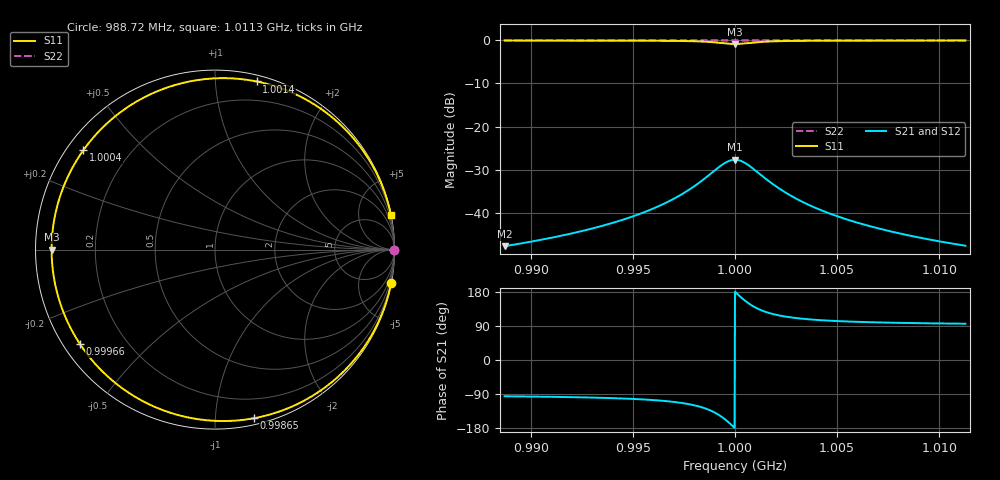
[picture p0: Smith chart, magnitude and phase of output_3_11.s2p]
! File generated for n1 = 3, n2 = 11
! b1 = 21.544347
! b2 = 0.010000
! Q0 = 10000.000000
! f0 = 1000000000.000000
! n = 1001
! rel_span = 10.000000
# Hz S RI R 50
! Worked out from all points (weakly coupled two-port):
!   1001 points, 988.72 MHz to 1.0113 GHz, reference 50 ohm
!   highest |S21| = -27.71 dB at 1 GHz (marker M1); lowest = -47.8 dB at 988.72 MHz (marker M2)
!   lowest |S11| = -0.8 dB at 1 GHz (marker M3), VSWR 21.33, Z = 2.34 + j0 ohm
!   |S11| at or under -10 dB: nowhere
!   |S22| runs from 0.0 to 0.0 dB; largest |S21 - S12| = 0
!   S11 on the Smith chart (normalised r, x): 988.72 MHz: 0, -11; 998.65 MHz: 0.05, -1.26; 999.66 MHz: 0.05, -0.31; 1.0004 GHz: 0.05, +0.33; 1.0014 GHz: 0.05, +1.28; 1.0113 GHz: 0, +10
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9.887228e8  0.9813 -0.1881  -0.000403 -0.00405  -0.000403 -0.00405  1 -8.73e-05
9.924894e8  0.9582 -0.2795  -0.000901 -0.00602  -0.000901 -0.00602  1 -0.00013
9.946321e8  0.9197 -0.3834  -0.00173 -0.00826  -0.00173 -0.00826  1 -0.000178
9.96256e8  0.8416 -0.5267  -0.00341 -0.0113  -0.00341 -0.0113  0.9999 -0.000244
9.976995e8  0.6306 -0.7545  -0.00796 -0.0163  -0.00796 -0.0163  0.9998 -0.00035
9.982182e8  0.4543 -0.863  -0.0118 -0.0186  -0.0118 -0.0186  0.9997 -0.000401
9.986467e8  0.2177 -0.9394  -0.0169 -0.0202  -0.0169 -0.0202  0.9996 -0.000436
9.992106e8  -0.2818 -0.8976  -0.0276 -0.0193  -0.0276 -0.0193  0.9994 -0.000417
9.994361e8  -0.5282 -0.7643  -0.0329 -0.0165  -0.0329 -0.0165  0.9993 -0.000355
9.996617e8  -0.7526 -0.5259  -0.0378 -0.0113  -0.0378 -0.0113  0.9992 -0.000244
1e9  -0.9104 0  -0.0412 0  -0.0412 0  0.9991 0
1.00018e9  -0.8628 0.298  -0.0401 0.00642  -0.0401 0.00642  0.9991 0.000138
1.000361e9  -0.733 0.5545  -0.0373 0.0119  -0.0373 0.0119  0.9992 0.000257
1.000564e9  -0.5285 0.764  -0.0329 0.0165  -0.0329 0.0165  0.9993 0.000355
1.000789e9  -0.2825 0.8974  -0.0276 0.0193  -0.0276 0.0193  0.9994 0.000417
1.001037e9  -0.0352 0.9519  -0.0223 0.0205  -0.0223 0.0205  0.9995 0.000442
1.001376e9  0.2316 0.9368  -0.0166 0.0202  -0.0166 0.0202  0.9996 0.000435
1.001804e9  0.4627 0.859  -0.0116 0.0185  -0.0116 0.0185  0.9998 0.000399
1.002323e9  0.635 0.7511  -0.00786 0.0162  -0.00786 0.0162  0.9998 0.000349
1.003767e9  0.8423 0.5258  -0.0034 0.0113  -0.0034 0.0113  0.9999 0.000244
1.007533e9  0.9578 0.2807  -0.000909 0.00605  -0.000909 0.00605  1 0.00013
1.011277e9  0.9809 0.1902  -0.000412 0.0041  -0.000412 0.0041  1 8.83e-05
